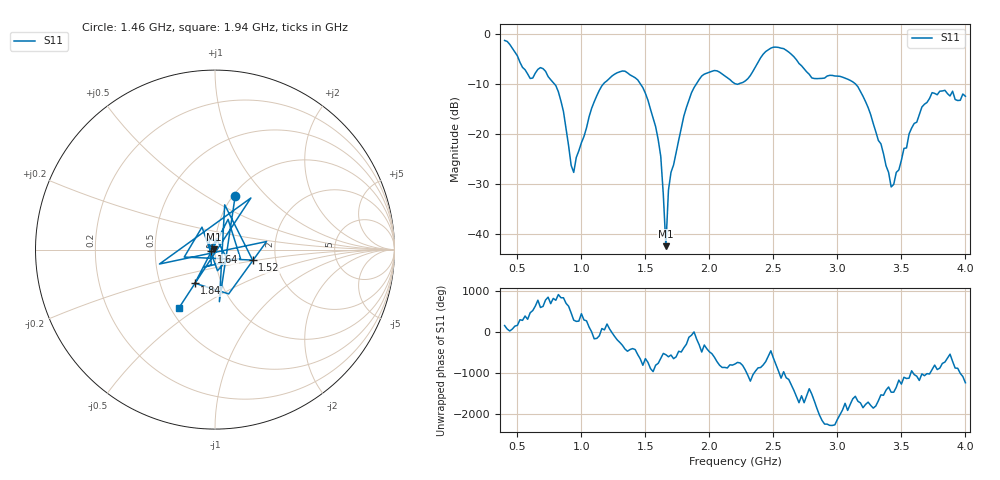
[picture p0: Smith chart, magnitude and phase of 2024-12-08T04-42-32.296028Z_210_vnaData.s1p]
!Created with skrf (http://scikit-rf.org).
# Hz S RI R 50.0
!freq ReS11 ImS11
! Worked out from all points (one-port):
!   181 points, 400 MHz to 4 GHz, reference 50 ohm
!   lowest |S11| = -42.4 dB at 1.66 GHz (marker M1), VSWR 1.02, Z = 49.3 + j0.1 ohm
!   |S11| at or under -10 dB: 789.7 MHz to 1.172 GHz (382 MHz wide, 38.9 % of centre); 1.461 GHz to 1.898 GHz (436.3 MHz wide, 26 % of centre); 3.142 GHz to end of sweep (the widest 3 of 4)
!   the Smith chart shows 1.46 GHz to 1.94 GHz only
!   S11 on the Smith chart (normalised r, x): 1.46 GHz: 1.03, +0.68; 1.52 GHz: 1.52, -0.19; 1.64 GHz: 0.96, -0.02; 1.84 GHz: 0.75, -0.29; 1.94 GHz: 0.55, -0.42
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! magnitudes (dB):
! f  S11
! 400 MHz  -1.3
! 600 MHz  -8.9
! 720 MHz  -7.5
! 800 MHz  -10.3
! 860 MHz  -15.5
! 940 MHz  -27.7
! 1.12 GHz  -12.4
! 1.3 GHz  -7.6
! 1.46 GHz  -9.9
! 1.52 GHz  -13.2
! 1.6 GHz  -21.1
! 1.62 GHz  -24.5
! 1.64 GHz  -32.1
! 1.66 GHz  -42.4
! 1.68 GHz  -31.2
! 1.76 GHz  -21.2
! 1.84 GHz  -13.2
! 1.94 GHz  -8.4
! 2.2 GHz  -9.9
! 2.48 GHz  -2.8
! 2.66 GHz  -4.5
! 2.8 GHz  -8.8
! 3.1 GHz  -9.3
! 3.24 GHz  -14.7
! 3.42 GHz  -30.6
! 3.56 GHz  -20.0
! 3.74 GHz  -11.7
! 4 GHz  -12.4
